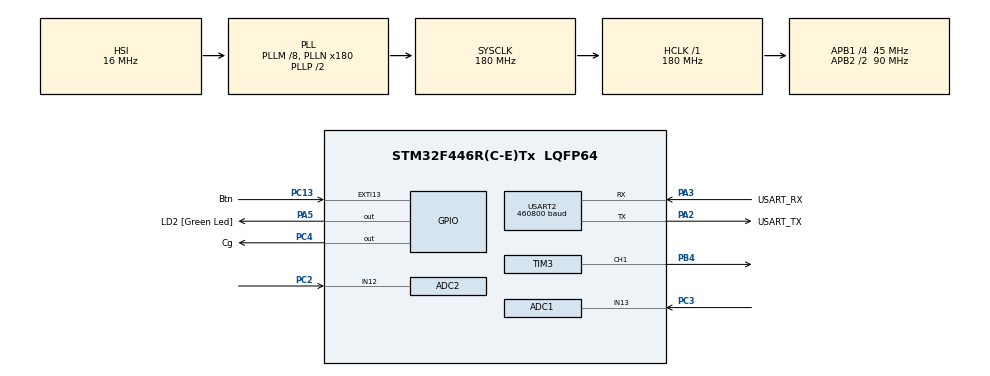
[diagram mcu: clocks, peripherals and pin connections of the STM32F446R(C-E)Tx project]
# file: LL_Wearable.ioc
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ADC1.Channel-4\#ChannelRegularConversion=ADC_CHANNEL_13
ADC1.ContinuousConvMode=DISABLE
ADC1.DMAContinuousRequests=ENABLE
ADC1.DiscontinuousConvMode=DISABLE
ADC1.EOCSelection=ADC_EOC_SEQ_CONV
ADC1.ExternalTrigConv=ADC_EXTERNALTRIGCONV_T3_TRGO
ADC1.NbrOfConversion=1
ADC1.NbrOfConversionFlag=1
ADC1.Rank-4\#ChannelRegularConversion=1
ADC1.SamplingTime-4\#ChannelRegularConversion=ADC_SAMPLETIME_480CYCLES
ADC1.ScanConvMode=ENABLE
ADC1.master=1
ADC2.Channel-1\#ChannelRegularConversion=ADC_CHANNEL_12
ADC2.DMAContinuousRequests=ENABLE
ADC2.EOCSelection=ADC_EOC_SEQ_CONV
ADC2.ExternalTrigConv=ADC_EXTERNALTRIGCONV_T2_TRGO
ADC2.NbrOfConversionFlag=1
ADC2.Rank-1\#ChannelRegularConversion=1
ADC2.SamplingTime-1\#ChannelRegularConversion=ADC_SAMPLETIME_480CYCLES
ADC2.ScanConvMode=ENABLE
Dma.ADC1.0.Direction=DMA_PERIPH_TO_MEMORY
Dma.ADC1.0.FIFOMode=DMA_FIFOMODE_DISABLE
Dma.ADC1.0.Instance=DMA2_Stream0
Dma.ADC1.0.MemDataAlignment=DMA_MDATAALIGN_WORD
Dma.ADC1.0.MemInc=DMA_MINC_ENABLE
Dma.ADC1.0.Mode=DMA_CIRCULAR
Dma.ADC1.0.PeriphDataAlignment=DMA_PDATAALIGN_WORD
Dma.ADC1.0.PeriphInc=DMA_PINC_DISABLE
Dma.ADC1.0.Priority=DMA_PRIORITY_LOW
Dma.ADC2.1.Direction=DMA_PERIPH_TO_MEMORY
Dma.ADC2.1.FIFOMode=DMA_FIFOMODE_DISABLE
Dma.ADC2.1.Instance=DMA2_Stream2
Dma.ADC2.1.MemDataAlignment=DMA_MDATAALIGN_WORD
Dma.ADC2.1.MemInc=DMA_MINC_ENABLE
Dma.ADC2.1.Mode=DMA_CIRCULAR
Dma.ADC2.1.PeriphDataAlignment=DMA_PDATAALIGN_WORD
Dma.ADC2.1.PeriphInc=DMA_PINC_DISABLE
Dma.ADC2.1.Priority=DMA_PRIORITY_LOW
Dma.Request0=ADC1
Dma.Request1=ADC2
Mcu.Family=STM32F4
Mcu.Name=STM32F446R(C-E)Tx
Mcu.Package=LQFP64
NVIC.ADC_IRQn=true\:0\:0\:false\:false\:true\:true\:true\:true
NVIC.DMA2_Stream0_IRQn=true\:0\:0\:false\:false\:true\:false\:true\:true
NVIC.DMA2_Stream2_IRQn=true\:0\:0\:false\:false\:true\:false\:true\:true
NVIC.EXTI15_10_IRQn=true\:0\:0\:false\:false\:true\:true\:true\:true
NVIC.PriorityGroup=NVIC_PRIORITYGROUP_0
NVIC.TIM2_IRQn=true\:0\:0\:false\:false\:true\:true\:true\:true
NVIC.TIM3_IRQn=true\:0\:0\:false\:false\:true\:true\:true\:true
PA13.GPIO_Label=TMS
PA13.Mode=Serial_Wire
PA13.Signal=SYS_JTMS-SWDIO
PA14.GPIO_Label=TCK
PA14.Mode=Serial_Wire
PA14.Signal=SYS_JTCK-SWCLK
PA2.GPIO_Label=USART_TX
PA2.Mode=Asynchronous
PA2.Signal=USART2_TX
PA3.GPIO_Label=USART_RX
PA3.Mode=Asynchronous
PA3.Signal=USART2_RX
PA5.GPIO_Label=LD2 [Green Led]
PA5.GPIO_Speed=GPIO_SPEED_FREQ_VERY_HIGH
PA5.PinState=GPIO_PIN_SET
PA5.Signal=GPIO_Output
PB3.GPIO_Label=SWO
PB3.Signal=SYS_JTDO-SWO
PB4.Signal=S_TIM3_CH1
PC13.GPIO_Label=Btn
PC13.Signal=GPXTI13
PC14-OSC32_IN.Mode=LSE-External-Oscillator
PC14-OSC32_IN.Signal=RCC_OSC32_IN
PC15-OSC32_OUT.Mode=LSE-External-Oscillator
PC15-OSC32_OUT.Signal=RCC_OSC32_OUT
PC2.Signal=ADCx_IN12
PC3.Signal=ADCx_IN13
PC4.GPIO_Label=Cg
PC4.GPIO_PuPd=GPIO_PULLDOWN
PC4.GPIO_Speed=GPIO_SPEED_FREQ_VERY_HIGH
PC4.PinState=GPIO_PIN_SET
PC4.Signal=GPIO_Output
PH0-OSC_IN.Mode=HSE-External-Oscillator
PH0-OSC_IN.Signal=RCC_OSC_IN
PH1-OSC_OUT.Mode=HSE-External-Oscillator
PH1-OSC_OUT.Signal=RCC_OSC_OUT
ProjectManager.HeapSize=0x200
ProjectManager.StackSize=0x400
ProjectManager.TargetToolchain=STM32CubeIDE
RCC.48MHZClocksFreq_Value=84000000
RCC.AHBFreq_Value=180000000
RCC.APB1CLKDivider=RCC_HCLK_DIV4
RCC.APB1Freq_Value=45000000
RCC.APB1TimFreq_Value=90000000
RCC.APB2CLKDivider=RCC_HCLK_DIV2
RCC.APB2Freq_Value=90000000
RCC.APB2TimFreq_Value=180000000
RCC.CortexFreq_Value=180000000
RCC.FLatency-AdvancedSettings=FLASH_LATENCY_5
RCC.HCLKFreq_Value=180000000
RCC.HSE_VALUE=8000000
RCC.HSI_VALUE=16000000
RCC.PLLM=8
RCC.PLLN=180
RCC.SYSCLKFreq_VALUE=180000000
RCC.SYSCLKSource=RCC_SYSCLKSOURCE_PLLCLK
RCC.USBFreq_Value=180000000
RCC.VCOOutputFreq_Value=360000000
SH.ADCx_IN12.0=ADC2_IN12,IN12
SH.ADCx_IN13.0=ADC1_IN13,IN13
SH.S_TIM3_CH1.0=TIM3_CH1,PWM Generation1 CH1
TIM2.Period=1
TIM2.Prescaler=449
TIM2.TIM_MasterOutputTrigger=TIM_TRGO_UPDATE
TIM3.Channel-PWM\ Generation1\ CH1=TIM_CHANNEL_1
TIM3.Period=99
TIM3.Prescaler=899
TIM3.TIM_MasterOutputTrigger=TIM_TRGO_UPDATE
TIM3.TIM_MasterSlaveMode=TIM_MASTERSLAVEMODE_DISABLE
USART2.BaudRate=460800
USART2.VirtualMode=VM_ASYNC
VP_TIM2_VS_ClockSourceINT.Mode=Internal
VP_TIM3_VS_ClockSourceINT.Mode=Internal
board=NUCLEO-F446RE

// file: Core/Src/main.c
/* USER CODE BEGIN Header */
/**
  ******************************************************************************
  * @file           : main.c
  * @brief          : Main program body
  ******************************************************************************
  * @attention
  *
  * Copyright (c) 2024 STMicroelectronics.
  * All rights reserved.
  *
  * This software is licensed under terms that can be found in the LICENSE file
  * in the root directory of this software component.
  * If no LICENSE file comes with this software, it is provided AS-IS.
  *
  ******************************************************************************
  */
/* USER CODE END Header */
#include "main.h"

/* USER CODE BEGIN Includes */
#include <stdio.h>
#include <stdint.h>
#include <stdlib.h>
#include <math.h>
#include <inttypes.h>
#include "Filters.h"
/* USER CODE END Includes */

ADC_HandleTypeDef hadc1;
ADC_HandleTypeDef hadc2;
DMA_HandleTypeDef hdma_adc1;
DMA_HandleTypeDef hdma_adc2;

TIM_HandleTypeDef htim2;
TIM_HandleTypeDef htim3;

UART_HandleTypeDef huart2;

/* USER CODE BEGIN PV */
volatile uint8_t Tim3Flag = 0;
volatile uint8_t adc1Flag = 0;
volatile uint8_t adc2Flag = 0;
volatile uint8_t BtnFlag = 0;
volatile uint8_t capFlag = 0;
volatile uint8_t cgFlag = 0;
const float stray_cap = 7;
const float adc_val_max = 4095;
float t_sat = 0.035;
float res = 0.00095;
uint32_t adcval1[1];
uint32_t adcval2[1];
uint32_t emg_raw = 0, stretch_raw = 0;
uint32_t R = 900500;
float  emg_rec = 0, filtered_emg = 0, neural_activation = 0, muscle_activation = 0, C = 0, C_filtered = 0, time = 0, cap = 0, stretch_lpf = 0, L = 0;;
/* USER CODE END PV */

void SystemClock_Config(void);
static void MX_GPIO_Init(void);
static void MX_DMA_Init(void);
static void MX_USART2_UART_Init(void);
static void MX_ADC1_Init(void);
static void MX_TIM3_Init(void);
static void MX_ADC2_Init(void);
static void MX_TIM2_Init(void);
/* USER CODE BEGIN PFP */
int _write(int file, char* p, int len){
	HAL_UART_Transmit(&huart2, p, len, 10);
	return len;
}
/* USER CODE END PFP */

int main(void)
{

  /* MCU Configuration--------------------------------------------------------*/

  /* Reset of all peripherals, Initializes the Flash interface and the Systick. */
  HAL_Init();

  /* USER CODE BEGIN Init */
  //KMF_Init(&kf, 0.0, 1.0, 0.1); // kf ?��?��?��?�� 초기?��
  //HighPassFilter_Init;
  /* USER CODE END Init */

  /* Configure the system clock */
  SystemClock_Config();

  /* Initialize all configured peripherals */
  MX_GPIO_Init();
  MX_DMA_Init();
  MX_USART2_UART_Init();
  MX_ADC1_Init();
  MX_TIM3_Init();
  MX_ADC2_Init();
  MX_TIM2_Init();
  /* USER CODE BEGIN 2 */
  HAL_TIM_Base_Start_IT(&htim3);
  HAL_TIM_Base_Start_IT(&htim2);
  HAL_ADC_Start_DMA(&hadc1, adcval1, 1);
  HAL_ADC_Start_DMA(&hadc2, adcval2, 1);

  //HAL_ADC_Start_DMA(&hadc2, adcval2, 1);
  HAL_TIM_PWM_Start(&htim3, TIM_CHANNEL_1);
  /* USER CODE END 2 */

  /* Infinite loop */
  /* USER CODE BEGIN WHILE */
  while (1)
  {
	  if(adc2Flag == 1){
		  adc2Flag = 0;
		  stretch_raw = adcval2[0];
		  time = time + 0.00001;
		  //printf("%u\r\n", stretch_raw);
	  }

	  if(stretch_raw >= 2814.771 && cgFlag ==1){
	  			  HAL_GPIO_WritePin(GPIOC, GPIO_PIN_4, GPIO_PIN_RESET);
	  			cap = time/R*1000000000000;

	  			if(cap<140){
	  				cap = 140;
	  			}

	  			  capFlag = 1;
	  			  cgFlag =0;
	  		  }

	  		  else if(stretch_raw <=614.4){
	  			  time = 0;
	  			  HAL_GPIO_WritePin(GPIOC, GPIO_PIN_4, GPIO_PIN_SET);
	  			  cgFlag = 1;
	  		  }

	  if(adc1Flag == 1 && capFlag == 1){
		  adc1Flag = 0;
		  capFlag = 0;

		  //HAL_GPIO_WritePin(GPIOC, GPIO_PIN_4, GPIO_PIN_RESET);

		  	emg_raw = adcval1[0];

			float filtered_emg_raw =BWHPF((float)emg_raw, 10);
			float emg_rec = fabs(filtered_emg_raw);
			float filtered_emg = BWLPF(emg_rec, 10);

			float neural_activation = NEURAL_ACTIVATION(filtered_emg);
			float muscle_activation = MUSCLE_ACTIVATION(neural_activation);

			__HAL_TIM_SET_COMPARE(&htim3, TIM_CHANNEL_1, muscle_activation);
			float caplpf = (BWLPF(cap, 20));
			L = (caplpf-140)*0.041379;
			//float capmaf = MAF(cap);
			//float st_f = MAF((float)stretch_raw);
			//float stretch_hpf = BWHPF((float) stretch_raw, 20);

			//C = stretch_raw*IN_STRAY_CAP_TO_GND / (float)(MAX_ADC_VALUE - stretch_raw);
			//float C = t_sat/(-res*log(1-((float)stretch_raw/adc_val_max)));
			//float C_lpf = BWLPF(C, 20);
			//float l_knee_F = FORCE_GENERATION(muscle_activation, );
			//printf("%f", neural_activation);
			//printf("%"PRIu32, emg_raw);
			//printf(",");
			//printf("%f", filtered_emg_raw);
			//printf("%f\r\n", muscle_activation);
			//printf("%f\r\n", C);
			//printf(",");
			//printf("%f\r\n", C_filtered);
		  	//printf("%"PRIu32, emg_raw);
		  	//printf(",");
		  	//printf("%u\r\n", stretch_raw);
			//printf("%f\r\n", st_f);
			//printf("%f\r\n", C);
			printf("%.2f cm", L);
			printf(", ");
			printf("%.2f pF\r\n", caplpf);
			//printf("%fs\r\n", time);
			//printf("%f\r\n", capmaf);

			//printf("%f\r\n", (float)stretch_raw);
			//printf("%"PRIu32, stretch_raw);
			//printf(",");
		  	//printf("%f\r\n", C_lpf);

			//HAL_GPIO_WritePin(GPIOC, GPIO_PIN_4, GPIO_PIN_SET);
	  }
    /* USER CODE END WHILE */

  }
}

void SystemClock_Config(void)
{
  RCC_OscInitTypeDef RCC_OscInitStruct = {0};
  RCC_ClkInitTypeDef RCC_ClkInitStruct = {0};

  /** Configure the main internal regulator output voltage
  */
  __HAL_RCC_PWR_CLK_ENABLE();
  __HAL_PWR_VOLTAGESCALING_CONFIG(PWR_REGULATOR_VOLTAGE_SCALE1);

  /** Initializes the RCC Oscillators according to the specified parameters
  * in the RCC_OscInitTypeDef structure.
  */
  RCC_OscInitStruct.OscillatorType = RCC_OSCILLATORTYPE_HSI;
  RCC_OscInitStruct.HSIState = RCC_HSI_ON;
  RCC_OscInitStruct.HSICalibrationValue = RCC_HSICALIBRATION_DEFAULT;
  RCC_OscInitStruct.PLL.PLLState = RCC_PLL_ON;
  RCC_OscInitStruct.PLL.PLLSource = RCC_PLLSOURCE_HSI;
  RCC_OscInitStruct.PLL.PLLM = 8;
  RCC_OscInitStruct.PLL.PLLN = 180;
  RCC_OscInitStruct.PLL.PLLP = RCC_PLLP_DIV2;
  RCC_OscInitStruct.PLL.PLLQ = 2;
  RCC_OscInitStruct.PLL.PLLR = 2;
  if (HAL_RCC_OscConfig(&RCC_OscInitStruct) != HAL_OK)
  {
    Error_Handler();
  }

  /** Activate the Over-Drive mode
  */
  if (HAL_PWREx_EnableOverDrive() != HAL_OK)
  {
    Error_Handler();
  }

  /** Initializes the CPU, AHB and APB buses clocks
  */
  RCC_ClkInitStruct.ClockType = RCC_CLOCKTYPE_HCLK|RCC_CLOCKTYPE_SYSCLK
                              |RCC_CLOCKTYPE_PCLK1|RCC_CLOCKTYPE_PCLK2;
  RCC_ClkInitStruct.SYSCLKSource = RCC_SYSCLKSOURCE_PLLCLK;
  RCC_ClkInitStruct.AHBCLKDivider = RCC_SYSCLK_DIV1;
  RCC_ClkInitStruct.APB1CLKDivider = RCC_HCLK_DIV4;
  RCC_ClkInitStruct.APB2CLKDivider = RCC_HCLK_DIV2;

  if (HAL_RCC_ClockConfig(&RCC_ClkInitStruct, FLASH_LATENCY_5) != HAL_OK)
  {
    Error_Handler();
  }
}

static void MX_ADC1_Init(void)
{

  ADC_ChannelConfTypeDef sConfig = {0};

  /** Configure the global features of the ADC (Clock, Resolution, Data Alignment and number of conversion)
  */
  hadc1.Instance = ADC1;
  hadc1.Init.ClockPrescaler = ADC_CLOCK_SYNC_PCLK_DIV4;
  hadc1.Init.Resolution = ADC_RESOLUTION_12B;
  hadc1.Init.ScanConvMode = ENABLE;
  hadc1.Init.ContinuousConvMode = DISABLE;
  hadc1.Init.DiscontinuousConvMode = DISABLE;
  hadc1.Init.ExternalTrigConvEdge = ADC_EXTERNALTRIGCONVEDGE_RISING;
  hadc1.Init.ExternalTrigConv = ADC_EXTERNALTRIGCONV_T3_TRGO;
  hadc1.Init.DataAlign = ADC_DATAALIGN_RIGHT;
  hadc1.Init.NbrOfConversion = 1;
  hadc1.Init.DMAContinuousRequests = ENABLE;
  hadc1.Init.EOCSelection = ADC_EOC_SEQ_CONV;
  if (HAL_ADC_Init(&hadc1) != HAL_OK)
  {
    Error_Handler();
  }

  /** Configure for the selected ADC regular channel its corresponding rank in the sequencer and its sample time.
  */
  sConfig.Channel = ADC_CHANNEL_13;
  sConfig.Rank = 1;
  sConfig.SamplingTime = ADC_SAMPLETIME_480CYCLES;
  if (HAL_ADC_ConfigChannel(&hadc1, &sConfig) != HAL_OK)
  {
    Error_Handler();
  }

}

static void MX_ADC2_Init(void)
{

  ADC_ChannelConfTypeDef sConfig = {0};

  /** Configure the global features of the ADC (Clock, Resolution, Data Alignment and number of conversion)
  */
  hadc2.Instance = ADC2;
  hadc2.Init.ClockPrescaler = ADC_CLOCK_SYNC_PCLK_DIV4;
  hadc2.Init.Resolution = ADC_RESOLUTION_12B;
  hadc2.Init.ScanConvMode = ENABLE;
  hadc2.Init.ContinuousConvMode = DISABLE;
  hadc2.Init.DiscontinuousConvMode = DISABLE;
  hadc2.Init.ExternalTrigConvEdge = ADC_EXTERNALTRIGCONVEDGE_RISING;
  hadc2.Init.ExternalTrigConv = ADC_EXTERNALTRIGCONV_T2_TRGO;
  hadc2.Init.DataAlign = ADC_DATAALIGN_RIGHT;
  hadc2.Init.NbrOfConversion = 1;
  hadc2.Init.DMAContinuousRequests = ENABLE;
  hadc2.Init.EOCSelection = ADC_EOC_SEQ_CONV;
  if (HAL_ADC_Init(&hadc2) != HAL_OK)
  {
    Error_Handler();
  }

  /** Configure for the selected ADC regular channel its corresponding rank in the sequencer and its sample time.
  */
  sConfig.Channel = ADC_CHANNEL_12;
  sConfig.Rank = 1;
  sConfig.SamplingTime = ADC_SAMPLETIME_480CYCLES;
  if (HAL_ADC_ConfigChannel(&hadc2, &sConfig) != HAL_OK)
  {
    Error_Handler();
  }

}

static void MX_TIM2_Init(void)
{

  TIM_ClockConfigTypeDef sClockSourceConfig = {0};
  TIM_MasterConfigTypeDef sMasterConfig = {0};

  htim2.Instance = TIM2;
  htim2.Init.Prescaler = 449;
  htim2.Init.CounterMode = TIM_COUNTERMODE_UP;
  htim2.Init.Period = 1;
  htim2.Init.ClockDivision = TIM_CLOCKDIVISION_DIV1;
  htim2.Init.AutoReloadPreload = TIM_AUTORELOAD_PRELOAD_DISABLE;
  if (HAL_TIM_Base_Init(&htim2) != HAL_OK)
  {
    Error_Handler();
  }
  sClockSourceConfig.ClockSource = TIM_CLOCKSOURCE_INTERNAL;
  if (HAL_TIM_ConfigClockSource(&htim2, &sClockSourceConfig) != HAL_OK)
  {
    Error_Handler();
  }
  sMasterConfig.MasterOutputTrigger = TIM_TRGO_UPDATE;
  sMasterConfig.MasterSlaveMode = TIM_MASTERSLAVEMODE_DISABLE;
  if (HAL_TIMEx_MasterConfigSynchronization(&htim2, &sMasterConfig) != HAL_OK)
  {
    Error_Handler();
  }

}

static void MX_TIM3_Init(void)
{

  TIM_ClockConfigTypeDef sClockSourceConfig = {0};
  TIM_MasterConfigTypeDef sMasterConfig = {0};
  TIM_OC_InitTypeDef sConfigOC = {0};

  htim3.Instance = TIM3;
  htim3.Init.Prescaler = 899;
  htim3.Init.CounterMode = TIM_COUNTERMODE_UP;
  htim3.Init.Period = 99;
  htim3.Init.ClockDivision = TIM_CLOCKDIVISION_DIV1;
  htim3.Init.AutoReloadPreload = TIM_AUTORELOAD_PRELOAD_DISABLE;
  if (HAL_TIM_Base_Init(&htim3) != HAL_OK)
  {
    Error_Handler();
  }
  sClockSourceConfig.ClockSource = TIM_CLOCKSOURCE_INTERNAL;
  if (HAL_TIM_ConfigClockSource(&htim3, &sClockSourceConfig) != HAL_OK)
  {
    Error_Handler();
  }
  if (HAL_TIM_PWM_Init(&htim3) != HAL_OK)
  {
    Error_Handler();
  }
  sMasterConfig.MasterOutputTrigger = TIM_TRGO_UPDATE;
  sMasterConfig.MasterSlaveMode = TIM_MASTERSLAVEMODE_DISABLE;
  if (HAL_TIMEx_MasterConfigSynchronization(&htim3, &sMasterConfig) != HAL_OK)
  {
    Error_Handler();
  }
  sConfigOC.OCMode = TIM_OCMODE_PWM1;
  sConfigOC.Pulse = 0;
  sConfigOC.OCPolarity = TIM_OCPOLARITY_HIGH;
  sConfigOC.OCFastMode = TIM_OCFAST_DISABLE;
  if (HAL_TIM_PWM_ConfigChannel(&htim3, &sConfigOC, TIM_CHANNEL_1) != HAL_OK)
  {
    Error_Handler();
  }
  HAL_TIM_MspPostInit(&htim3);

}

static void MX_USART2_UART_Init(void)
{

  huart2.Instance = USART2;
  huart2.Init.BaudRate = 460800;
  huart2.Init.WordLength = UART_WORDLENGTH_8B;
  huart2.Init.StopBits = UART_STOPBITS_1;
  huart2.Init.Parity = UART_PARITY_NONE;
  huart2.Init.Mode = UART_MODE_TX_RX;
  huart2.Init.HwFlowCtl = UART_HWCONTROL_NONE;
  huart2.Init.OverSampling = UART_OVERSAMPLING_16;
  if (HAL_UART_Init(&huart2) != HAL_OK)
  {
    Error_Handler();
  }

}

static void MX_DMA_Init(void)
{

  /* DMA controller clock enable */
  __HAL_RCC_DMA2_CLK_ENABLE();

  /* DMA interrupt init */
  /* DMA2_Stream0_IRQn interrupt configuration */
  HAL_NVIC_SetPriority(DMA2_Stream0_IRQn, 0, 0);
  HAL_NVIC_EnableIRQ(DMA2_Stream0_IRQn);
  /* DMA2_Stream2_IRQn interrupt configuration */
  HAL_NVIC_SetPriority(DMA2_Stream2_IRQn, 0, 0);
  HAL_NVIC_EnableIRQ(DMA2_Stream2_IRQn);

}

static void MX_GPIO_Init(void)
{
  GPIO_InitTypeDef GPIO_InitStruct = {0};

  /* GPIO Ports Clock Enable */
  __HAL_RCC_GPIOC_CLK_ENABLE();
  __HAL_RCC_GPIOH_CLK_ENABLE();
  __HAL_RCC_GPIOA_CLK_ENABLE();
  __HAL_RCC_GPIOB_CLK_ENABLE();

  /*Configure GPIO pin Output Level */
  HAL_GPIO_WritePin(LD2_GPIO_Port, LD2_Pin, GPIO_PIN_SET);

  /*Configure GPIO pin Output Level */
  HAL_GPIO_WritePin(Cg_GPIO_Port, Cg_Pin, GPIO_PIN_SET);

  /*Configure GPIO pin : Btn_Pin */
  GPIO_InitStruct.Pin = Btn_Pin;
  GPIO_InitStruct.Mode = GPIO_MODE_IT_RISING;
  GPIO_InitStruct.Pull = GPIO_NOPULL;
  HAL_GPIO_Init(Btn_GPIO_Port, &GPIO_InitStruct);

  /*Configure GPIO pin : LD2_Pin */
  GPIO_InitStruct.Pin = LD2_Pin;
  GPIO_InitStruct.Mode = GPIO_MODE_OUTPUT_PP;
  GPIO_InitStruct.Pull = GPIO_NOPULL;
  GPIO_InitStruct.Speed = GPIO_SPEED_FREQ_VERY_HIGH;
  HAL_GPIO_Init(LD2_GPIO_Port, &GPIO_InitStruct);

  /*Configure GPIO pin : Cg_Pin */
  GPIO_InitStruct.Pin = Cg_Pin;
  GPIO_InitStruct.Mode = GPIO_MODE_OUTPUT_PP;
  GPIO_InitStruct.Pull = GPIO_PULLDOWN;
  GPIO_InitStruct.Speed = GPIO_SPEED_FREQ_VERY_HIGH;
  HAL_GPIO_Init(Cg_GPIO_Port, &GPIO_InitStruct);

  /* EXTI interrupt init*/
  HAL_NVIC_SetPriority(EXTI15_10_IRQn, 0, 0);
  HAL_NVIC_EnableIRQ(EXTI15_10_IRQn);

}

/* USER CODE BEGIN 4 */
/*void HAL_TIM_PeriodElapsedCallback(TIM_HandleTypeDef *htim){
	if(htim->Instance==TIM3){
		Tim3Flag = 1;
	}
}*/
void HAL_ADC_ConvCpltCallback(ADC_HandleTypeDef* hadc){
	if(hadc->Instance == ADC1){
		adc1Flag = 1;
	    }
	else if (hadc->Instance == ADC2){
		adc2Flag = 1;
		}
}
/*void HAL_GPIO_EXTI_Callback(uint16_t GPIO_Pin){

		if(BtnFlag == 0){
			BtnFlag = 1;
			HAL_GPIO_WritePin(GPIOC, GPIO_PIN_4, GPIO_PIN_SET);
		}
		else if(BtnFlag == 1){
			BtnFlag = 0;
			HAL_GPIO_WritePin(GPIOC, GPIO_PIN_4, GPIO_PIN_RESET);
		}
	  }*/

/* USER CODE END 4 */

void Error_Handler(void)
{
  __disable_irq();
  while (1)
  {
  }
}
